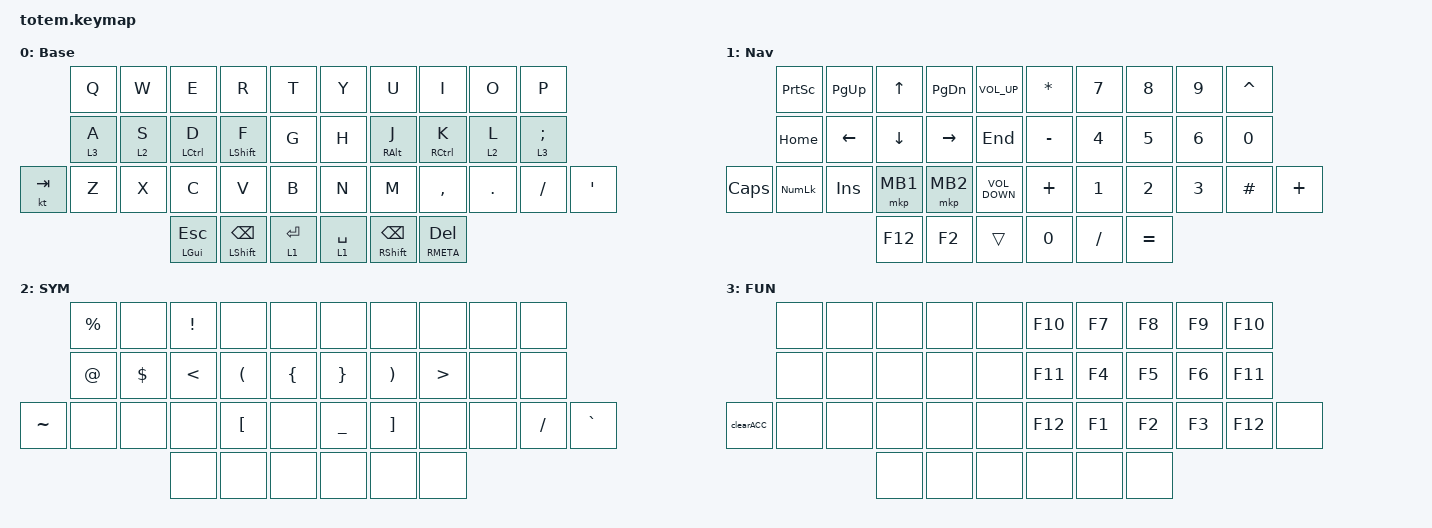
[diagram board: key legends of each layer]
//
//                                                        ▀▀▀▀▀     ▀▀▀▀▀          ▀▀█▀▀
//                                                        ▄▀▀▀▄  ▄  ▄▀▀▀▄  ▄  ▄▀▀▀▄  █  ▄▀▀▀▄
//                                                        █   █  █  █   █  █  █   █  █  █   █
//                                                         ▀▀▀   █   ▀▀▀   █   ▀▀▀   ▀   ▀▀▀
//                                                               █      ▄▄▄█▄▄▄    █   █  
//                                                               ▀      █  █  █     █▄█
//                                                             ▀▀▀▀▀    █  █  █      ▀
//                                                                      ▀  ▀  ▀
//
// ▄▄▄▄▄▄▄▄▄▄▄▄▄▄▄▄▄▄▄▄▄▄▄▄▄▄▄▄▄▄▄▄▄▄▄▄▄▄▄▄▄▄▄▄▄▄▄▄▄▄▄▄▄▄▄▄▄▄▄▄▄▄▄▄▄▄▄▄▄▄▄▄▄▄▄▄▄▄▄▄▄▄▄▄▄▄▄▄▄▄▄▄▄▄▄▄▄▄▄▄▄▄▄▄▄▄▄▄▄▄▄▄▄▄▄▄▄▄▄▄▄▄▄▄▄▄▄▄▄▄▄▄▄▄▄▄▄▄▄▄▄▄▄▄▄▄▄▄▄

#include <behaviors.dtsi>
#include <dt-bindings/zmk/keys.h>
#include <dt-bindings/zmk/pointing.h>

#define Base        0
#define Nav         1
#define Sym         2
#define Fun         3
#define Game        4
#define Gameplus    5

&mt {
    quick-tap-ms = <100>;
    global-quick-tap;
    flavor = "tap-preferred";
    tapping-term-ms = <170>;
};

&lt {
    tapping-term-ms = <240>;
    flavor = "balanced";
    quick-tap-ms = <150>;
};

/ {
    behaviors {
        hm: homerow_mods {
            compatible = "zmk,behavior-hold-tap";
            label = "HOMEROW_MODS";
            #binding-cells = <2>;
            flavor = "tap-preferred";
            tapping-term-ms = <200>;
            quick-tap-ms = <125>;
            global-quick-tap;
            bindings = <&kp>, <&kp>;
        };
    };

    macros {
        clearACC: clearACC {
            compatible = "zmk,behavior-macro";
            #binding-cells = <0>;
            bindings = <&kp LA(A)>;
            label = "CLEARACC";
        };

        print: print {
            compatible = "zmk,behavior-macro";
            #binding-cells = <0>;
            bindings = <&kp LA(N) &kp O &kp B &kp S &kp TAB &kp LA(A) &kp B &kp A &kp P &kp TAB &kp SPACE &kp ENTER &kp ESCAPE>;
            label = "PRINT";
        };
    };

    keymap {
        compatible = "zmk,keymap";

        Base {
            display-name = "Base";
            bindings = <
         &kp Q    &kp W    &kp E                &kp R                     &kp T          &kp Y        &kp U            &kp I             &kp O    &kp P
         &lt 3 A  &lt 2 S  &hm LCTRL D          &hm LSHIFT F              &kp G          &kp H        &hm RIGHT_ALT J  &hm RCTRL K       &lt 2 L  &lt 3 SEMICOLON
&kt TAB  &kp Z    &kp X    &kp C                &kp V                     &kp B          &kp N        &kp M            &kp COMMA         &kp DOT  &kp SLASH        &kp APOSTROPHE
                           &mt LEFT_GUI ESCAPE  &mt LEFT_SHIFT BACKSPACE  &lt 1 ENTER    &lt 1 SPACE  &mt RSHFT BSPC   &mt RMETA DELETE
            >;
        };

        NAV {
            display-name = "Nav";
            bindings = <
              &kp PRINTSCREEN  &kp PAGE_UP  &kp UP_ARROW  &kp PAGE_DOWN  &kp K_VOLUME_UP      &kp ASTERISK  &kp NUMBER_7  &kp NUMBER_8  &kp NUMBER_9  &kp CARET
              &kp HOME         &kp LEFT     &kp DOWN      &kp RIGHT      &kp END              &kp MINUS     &kp NUMBER_4  &kp NUMBER_5  &kp NUMBER_6  &kp N0
&kp CAPSLOCK  &kp KP_NUMLOCK   &kp INS      &mkp MB1      &mkp MB2       &kp K_VOLUME_DOWN    &kp PLUS      &kp NUMBER_1  &kp NUMBER_2  &kp NUMBER_3  &kp HASH   &kp PLUS
                                            &kp F12       &kp F2         &trans               &kp N0        &kp SLASH     &kp EQUAL
            >;
        };

        SYM {
            display-name = "SYM";
            bindings = <
           &kp PERCENT  &none       &kp EXCLAMATION  &none                 &none             &none            &none                  &none             &none  &none
           &kp AT_SIGN  &kp DOLLAR  &kp LESS_THAN    &kp LEFT_PARENTHESIS  &kp LEFT_BRACE    &kp RIGHT_BRACE  &kp RIGHT_PARENTHESIS  &kp GREATER_THAN  &none  &none
&kp TILDE  &none        &none       &none            &kp LEFT_BRACKET      &none             &kp UNDER        &kp RIGHT_BRACKET      &none             &none  &kp SLASH  &kp GRAVE
                                    &none            &none                 &none             &none            &none                  &none
            >;
        };

        FUN {
            bindings = <
           &none  &none  &none  &none  &none    &kp F10  &kp F7  &kp F8  &kp F9  &kp F10
           &none  &none  &none  &none  &none    &kp F11  &kp F4  &kp F5  &kp F6  &kp F11
&clearACC  &none  &none  &none  &none  &none    &kp F12  &kp F1  &kp F2  &kp F3  &kp F12  &none
                         &none  &none  &none    &none    &none   &none
            >;
        };
    };
};
